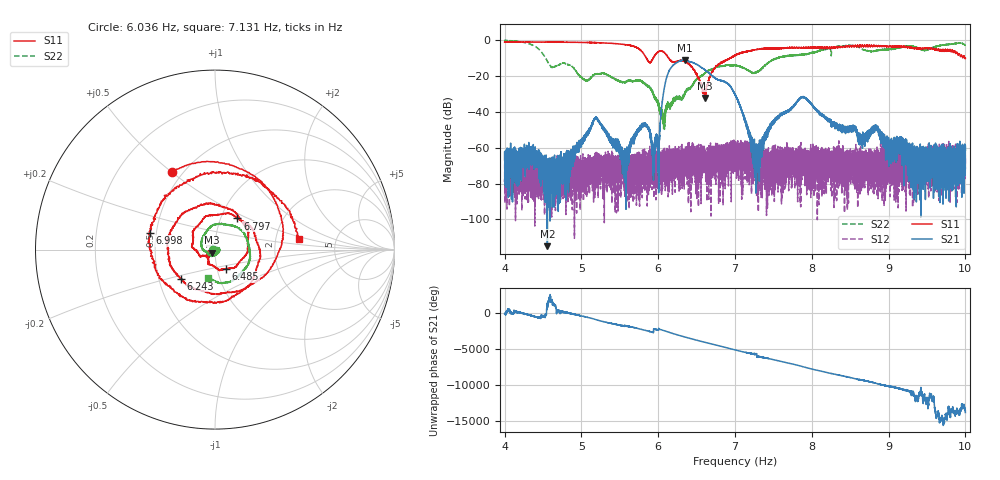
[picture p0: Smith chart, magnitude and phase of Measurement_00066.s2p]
!Created with skrf (http://scikit-rf.org).
# Hz S RI R 50.0
!freq ReS11 ImS11 ReS21 ImS21 ReS12 ImS12 ReS22 ImS22
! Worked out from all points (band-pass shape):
!   14001 points, 4 Hz to 10 Hz, reference 50 ohm
!   highest |S21| = -11.09 dB at 6.344 Hz (marker M1); lowest = -114.9 dB at 4.557 Hz (marker M2)
!   |S21| within 3 dB of the highest: 6.191441 Hz to 6.191998 Hz (557.4 uHz wide, 0.009 % of centre); 6.193 Hz to 6.525 Hz (332.3 mHz wide, 5.23 % of centre)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
!   lowest |S11| = -32.3 dB at 6.612 Hz (marker M3), VSWR 1.05, Z = 48.3 - j1.69 ohm
!   |S11| at or under -10 dB: 5.846 Hz to 5.935 Hz (89.49 mHz wide, 1.52 % of centre); 6.137 Hz to 6.933 Hz (796.1 mHz wide, 12.2 % of centre); 9.991802 Hz to end of sweep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
!   |S22| runs from -50.2 to -0.2 dB; largest |S21 - S12| = 0.28
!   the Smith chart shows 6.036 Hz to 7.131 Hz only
!   S11 on the Smith chart (normalised r, x): 6.036 Hz: 0.43, +0.50; 6.243 Hz: 0.65, -0.22; 6.485 Hz: 1.10, -0.24; 6.797 Hz: 1.20, +0.44; 6.998 Hz: 0.46, +0.10; 7.131 Hz: 2.72, +0.43
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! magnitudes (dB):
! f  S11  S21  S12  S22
! 4 Hz  -1.1  -66.8  -77.1  -0.3
! 4.557 Hz  -1.1  -114.9  -77.2  -11.8
! 5 Hz  -1.3  -56.0  -78.3  -20.7
! 5.19 Hz  -1.4  -42.9  -69.2  -18.9
! 5.558 Hz  -2.4  -66.6  -71.8  -23.5
! 5.802 Hz  -7.0  -46.3  -67.7  -23.6
! 6 Hz  -6.5  -62.7  -71.0  -35.6
! 6.036 Hz  -6.1  -41.5  -76.4  -40.8
! 6.111 Hz  -8.4  -20.6  -62.6  -37.0
! 6.243 Hz  -12.0  -12.5  -64.6  -32.1
! 6.344 Hz  -11.8  -11.1  -62.2  -30.6
! 6.485 Hz  -18.1  -13.2  -68.9  -22.5
! 6.612 Hz  -32.3  -16.7  -67.2  -18.1
! 6.797 Hz  -13.4  -22.3  -66.2  -14.8
! 6.998 Hz  -8.5  -30.3  -72.9  -14.1
! 7 Hz  -8.5  -30.2  -60.3  -14.0
! 7.131 Hz  -6.5  -44.3  -60.5  -15.9
! 7.289 Hz  -5.1  -60.9  -64.8  -17.8
! 7.563 Hz  -4.6  -42.5  -74.5  -9.9
! 8 Hz  -4.3  -35.8  -64.2  -6.9
! 9 Hz  -3.6  -60.3  -63.6  -5.0
! 10 Hz  -10.1  -61.3  -65.1  -3.1
